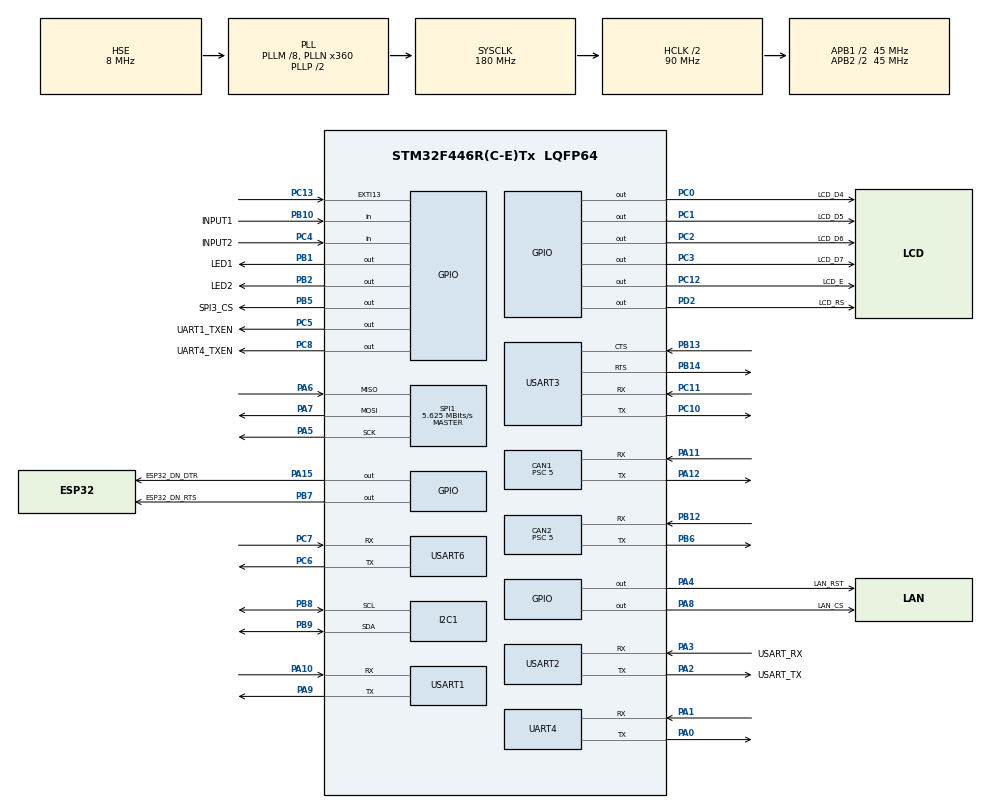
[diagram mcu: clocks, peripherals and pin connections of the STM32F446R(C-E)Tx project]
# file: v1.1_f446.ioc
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Mcu.Family=STM32F4
NVIC.USART3_IRQn=true\:0\:0\:false\:false\:true\:true\:true
NVIC.CAN1_RX1_IRQn=true\:0\:0\:false\:false\:true\:true\:true
PA6.Mode=Full_Duplex_Master
PH0-OSC_IN.Signal=RCC_OSC_IN
RCC.CortexFreq_Value=90000000
NVIC.CAN2_RX0_IRQn=true\:0\:0\:false\:false\:true\:true\:true
SPI1.VirtualType=VM_MASTER
PB10.GPIO_PuPd=GPIO_PULLUP
CAN2.CalculateTimeBit=999.99
PC10.Signal=USART3_TX
PC12.Signal=GPIO_Output
PA14.GPIO_Label=TCK
PC0.GPIO_Label=LCD_D4
PA11.Mode=CAN_Activate
PB13.Signal=USART3_CTS
PB15.Signal=SPI2_MOSI
RCC.SYSCLKSource=RCC_SYSCLKSOURCE_PLLCLK
ProjectManager.StackSize=0x400
PA15.GPIO_Label=ESP32_DN_DTR
PA12.Signal=CAN1_TX
SPI1.Direction=SPI_DIRECTION_2LINES
RCC.HCLKFreq_Value=90000000
RCC.APB2TimFreq_Value=90000000
PB6.Signal=CAN2_TX
PC7.Signal=USART6_RX
PB5.PinState=GPIO_PIN_SET
PB6.Mode=CAN_Activate
SPI1.CalculateBaudRate=5.625 MBits/s
PC3.Signal=GPIO_Output
RCC.AHBFreq_Value=90000000
PH0-OSC_IN.Mode=HSE-External-Clock-Source
RCC.HSE_VALUE=8000000
PB2.Signal=GPIO_Output
PC14-OSC32_IN.Mode=LSE-External-Oscillator
PC4.GPIO_Label=INPUT2
PA14.Mode=Serial_Wire
CAN2.Prescaler=5
PB14.Mode=CTS_RTS
PB1.GPIO_Label=LED1
PC13.GPIO_PuPd=GPIO_PULLUP
PB7.Signal=GPIO_Output
PA8.Signal=GPIO_Output
RCC.FLatency-AdvancedSettings=FLASH_LATENCY_2
PH1-OSC_OUT.Mode=HSE-External-Clock-Source
PB7.GPIO_Label=ESP32_DN_RTS
CAN1.Prescaler=5
Mcu.Package=LQFP64
PB9.Signal=I2C1_SDA
PB1.Signal=GPIO_Output
PA6.Signal=SPI1_MISO
PB12.Mode=CAN_Activate
CAN2.BS1=CAN_BS1_7TQ
CAN2.BS2=CAN_BS2_1TQ
USART2.VirtualMode=VM_ASYNC
USART6.VirtualMode=VM_ASYNC
PA2.GPIO_Label=USART_TX
PA10.Signal=USART1_RX
PA15.Signal=GPIO_Output
PC11.Mode=Asynchronous
RCC.APB2CLKDivider=RCC_HCLK_DIV2
PB5.GPIO_Label=SPI3_CS
RCC.APB1TimFreq_Value=90000000
PC5.Signal=GPIO_Output
PB13.Mode=CTS_RTS
NVIC.USART1_IRQn=true\:0\:0\:false\:false\:true\:true\:true
SPI1.BaudRatePrescaler=SPI_BAUDRATEPRESCALER_8
CAN1.CalculateTimeBit=999.99
PA4.GPIO_Label=LAN_RST
PC2.GPIO_Label=LCD_D6
PA8.PinState=GPIO_PIN_SET
PB4.Signal=SPI3_MISO
PA3.Signal=USART2_RX
CAN1.CalculateTimeQuantum=111.11111111111111
NVIC.UART4_IRQn=true\:0\:0\:false\:false\:true\:true\:true
PA5.Mode=Full_Duplex_Master
RCC.PLLSourceVirtual=RCC_PLLSOURCE_HSE
PC15-OSC32_OUT.Mode=LSE-External-Oscillator
CAN2.CalculateBaudRate=1000000
PA7.Mode=Full_Duplex_Master
PA10.Mode=Asynchronous
PC4.GPIO_PuPd=GPIO_PULLUP
PC11.Signal=USART3_RX
PC13.Signal=GPXTI13
CAN1.CalculateBaudRate=1000000
PC8.Signal=GPIO_Output
PC2.Signal=GPIO_Output
PC4.Signal=GPIO_Input
PC6.Signal=USART6_TX
PC10.Mode=Asynchronous
PC0.Signal=GPIO_Output
RCC.APB1CLKDivider=RCC_HCLK_DIV2
UART4.VirtualMode=Asynchronous
PC14-OSC32_IN.Signal=RCC_OSC32_IN
NVIC.CAN2_RX1_IRQn=true\:0\:0\:false\:false\:true\:true\:true
NVIC.USART2_IRQn=true\:0\:0\:false\:false\:true\:true\:true
PA0-WKUP.Signal=UART4_TX
PA0-WKUP.Mode=Asynchronous
PC8.GPIO_Label=UART4_TXEN
PA3.Mode=Asynchronous
PA13.Signal=SYS_JTMS-SWDIO
PA9.Mode=Asynchronous
PA8.GPIO_Label=LAN_CS
PA4.PinState=GPIO_PIN_SET
CAN1.BS2=CAN_BS2_1TQ
CAN1.BS1=CAN_BS1_7TQ
ProjectManager.TargetToolchain=STM32CubeIDE
PB10.GPIO_Label=INPUT1
PC6.Mode=Asynchronous
PB9.Mode=I2C
PA9.Signal=USART1_TX
RCC.USBFreq_Value=180000000
PC15-OSC32_OUT.Signal=RCC_OSC32_OUT
PA1.Signal=UART4_RX
PB10.Signal=GPIO_Input
PB14.Signal=USART3_RTS
PA5.Signal=SPI1_SCK
board=NUCLEO-F446RE
RCC.VCOOutputFreq_Value=360000000
RCC.APB2Freq_Value=45000000
PA1.Mode=Asynchronous
SPI1.Mode=SPI_MODE_MASTER
PC1.GPIO_Label=LCD_D5
CAN2.CalculateTimeQuantum=111.11111111111111
PH1-OSC_OUT.Signal=RCC_OSC_OUT
RCC.AHBCLKDivider=RCC_SYSCLK_DIV2
PA13.Mode=Serial_Wire
Mcu.Name=STM32F446R(C-E)Tx
PA2.Signal=USART2_TX
PA13.GPIO_Label=TMS
RCC.48MHZClocksFreq_Value=84000000
PB3.Signal=SPI3_SCK
PA4.Signal=GPIO_Output
RCC.SYSCLKFreq_VALUE=180000000
PB5.Signal=GPIO_Output
PA12.Mode=CAN_Activate
PC5.GPIO_Label=UART1_TXEN
USART3.VirtualMode=VM_ASYNC
PC12.GPIO_Label=LCD_E
USART1.VirtualMode=VM_ASYNC
PA11.Signal=CAN1_RX
PA14.Signal=SYS_JTCK-SWCLK
PB2.GPIO_Label=LED2
ProjectManager.HeapSize=0x200
RCC.HSI_VALUE=16000000
NVIC.PriorityGroup=NVIC_PRIORITYGROUP_0
RCC.PLLM=8
PB8.Mode=I2C
RCC.PLLN=360
PA2.Mode=Asynchronous
PB8.Signal=I2C1_SCL
PC3.GPIO_Label=LCD_D7
PC7.Mode=Asynchronous
PD2.Signal=GPIO_Output
RCC.APB1Freq_Value=45000000
PC1.Signal=GPIO_Output
PB12.Signal=CAN2_RX
PD2.GPIO_Label=LCD_RS
NVIC.CAN1_RX0_IRQn=true\:0\:0\:false\:false\:true\:true\:true
PA3.GPIO_Label=USART_RX
PA7.Signal=SPI1_MOSI

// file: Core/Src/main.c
/* USER CODE BEGIN Header */
/**
  ************* *****************************************************************
  * @file           : main.c
  * @brief          : Main program body
  ******************************************************************************
  * @attention
  *
  * <h2><center>&copy; Copyright (c) 2023 STMicroelectronics.
  * All rights reserved.</center></h2>
  *
  * This software component is licensed by ST under BSD 3-Clause license,
  * the "License"; You may not use this file except in compliance with the
  * License. You may obtain a copy of the License at:
  *                        opensource.org/licenses/BSD-3-Clause
  *
  ******************************************************************************
  */
/* USER CODE END Header */
#include "main.h"

CAN_HandleTypeDef hcan1;
CAN_HandleTypeDef hcan2;

I2C_HandleTypeDef hi2c1;

SPI_HandleTypeDef hspi1;

UART_HandleTypeDef huart4;
UART_HandleTypeDef huart1;
UART_HandleTypeDef huart2;
UART_HandleTypeDef huart3;
UART_HandleTypeDef huart6;

void SystemClock_Config(void);
static void MX_GPIO_Init(void);
static void MX_USART2_UART_Init(void);
static void MX_CAN1_Init(void);
static void MX_CAN2_Init(void);
static void MX_I2C1_Init(void);
static void MX_SPI1_Init(void);
static void MX_USART1_UART_Init(void);
static void MX_USART3_UART_Init(void);
static void MX_USART6_UART_Init(void);
static void MX_UART4_Init(void);
/* USER CODE BEGIN PFP */
extern __IO uint8_t rxBuff1[2];
extern __IO uint8_t rxBuff2[2];
extern __IO uint8_t rxBuff3[2];
extern __IO uint8_t rxBuff4[2];
/* USER CODE END PFP */

/* USER CODE BEGIN 0 */
#include "uart.h"
extern int is_available(uart_rx_queue_t *Q);
extern int delete_uart_Q(uart_rx_queue_t *Q);
extern int do_cmd(char ch);

extern uart_rx_queue_t stdin_uart, rs485_uart1, rs485_uart4;
extern void can_start(int chn); // chn 1,2
extern void ESP8266_ESP8266();
JCNET_USART3_UART_Init()
{
	MX_USART3_UART_Init();
}
/* USER CODE END 0 */

int main(void)
{

  /* MCU Configuration--------------------------------------------------------*/

  /* Reset of all peripherals, Initializes the Flash interface and the Systick. */
  HAL_Init();

  /* Configure the system clock */
  SystemClock_Config();

  /* Initialize all configured peripherals */
  MX_GPIO_Init();
  MX_USART2_UART_Init();
  MX_CAN1_Init();
  MX_CAN2_Init();
  MX_I2C1_Init();
  MX_SPI1_Init();
  MX_USART1_UART_Init();
  MX_USART3_UART_Init();
  MX_USART6_UART_Init();
  MX_UART4_Init();
  /* USER CODE BEGIN 2 */
  uart_rx_ready_IT(&huart2,rxBuff2);
  uart_rx_ready_IT(&huart1,rxBuff1);
  uart_rx_ready_IT(&huart3,rxBuff3);
  uart_rx_ready_IT(&huart4,rxBuff4);
  can_start(1);
  can_start(2);
  printf("Hi~. Welcome to IOT board for NUCLEO !\n");
  ESP8266_ESP8266();
  /* USER CODE END 2 */

  /* Infinite loop */
  while (1)
  {

    /* USER CODE BEGIN 3 */
	  extern void wiz_task();
	  extern volatile uint8_t rxDataCan1[8];
	  extern volatile uint8_t rxDataCan2[8];
	  extern volatile int can1_rx_flag;
	  extern volatile int can2_rx_flag;
	  extern void ESP8266_ESP8266();
	  int i;
	  if(can1_rx_flag)
	  {
		  can1_rx_flag = 0;
		  printf("CAN1 rx : "); for( i = 0 ; i < 8 ; i ++) printf("%02x",rxDataCan1[i]);
		  printf("\n");
	  }
	  if(can2_rx_flag)
	  {
		  can2_rx_flag = 0;
		  printf("CAN2 rx : "); for( i = 0 ; i < 8 ; i ++) printf("%02x",rxDataCan2[i]);
		  printf("\n");
	  }
      if(is_available(&stdin_uart))
      {
              int ch;
              ch = delete_uart_Q(&stdin_uart);
              do_cmd(ch);
      }
      if(is_available(&rs485_uart1))
      {
    	  printf("RS485 uart1 RX\n");
    	  while(is_available(&rs485_uart1))
    	  {
              int ch;
              ch = delete_uart_Q(&rs485_uart1);
              printf("%c",ch);
    	  }
    	  printf("\n");
      }
      if(is_available(&rs485_uart4))
      {
    	  printf("RS485 uart3 RX\n");
    	  while(is_available(&rs485_uart4))
    	  {
              int ch;
              ch = delete_uart_Q(&rs485_uart4);
              printf("%c",ch);
    	  }
    	  printf("\n");
      }
      wiz_task();
  }
  /* USER CODE END 3 */
}

void SystemClock_Config(void)
{
  RCC_OscInitTypeDef RCC_OscInitStruct = {0};
  RCC_ClkInitTypeDef RCC_ClkInitStruct = {0};

  /** Configure the main internal regulator output voltage
  */
  __HAL_RCC_PWR_CLK_ENABLE();
  __HAL_PWR_VOLTAGESCALING_CONFIG(PWR_REGULATOR_VOLTAGE_SCALE3);
  /** Initializes the RCC Oscillators according to the specified parameters
  * in the RCC_OscInitTypeDef structure.
  */
  RCC_OscInitStruct.OscillatorType = RCC_OSCILLATORTYPE_HSE;
  RCC_OscInitStruct.HSEState = RCC_HSE_BYPASS;
  RCC_OscInitStruct.PLL.PLLState = RCC_PLL_ON;
  RCC_OscInitStruct.PLL.PLLSource = RCC_PLLSOURCE_HSE;
  RCC_OscInitStruct.PLL.PLLM = 8;
  RCC_OscInitStruct.PLL.PLLN = 360;
  RCC_OscInitStruct.PLL.PLLP = RCC_PLLP_DIV2;
  RCC_OscInitStruct.PLL.PLLQ = 2;
  RCC_OscInitStruct.PLL.PLLR = 2;
  if (HAL_RCC_OscConfig(&RCC_OscInitStruct) != HAL_OK)
  {
    Error_Handler();
  }
  /** Initializes the CPU, AHB and APB buses clocks
  */
  RCC_ClkInitStruct.ClockType = RCC_CLOCKTYPE_HCLK|RCC_CLOCKTYPE_SYSCLK
                              |RCC_CLOCKTYPE_PCLK1|RCC_CLOCKTYPE_PCLK2;
  RCC_ClkInitStruct.SYSCLKSource = RCC_SYSCLKSOURCE_PLLCLK;
  RCC_ClkInitStruct.AHBCLKDivider = RCC_SYSCLK_DIV2;
  RCC_ClkInitStruct.APB1CLKDivider = RCC_HCLK_DIV2;
  RCC_ClkInitStruct.APB2CLKDivider = RCC_HCLK_DIV2;

  if (HAL_RCC_ClockConfig(&RCC_ClkInitStruct, FLASH_LATENCY_2) != HAL_OK)
  {
    Error_Handler();
  }
}

static void MX_CAN1_Init(void)
{

  hcan1.Instance = CAN1;
  hcan1.Init.Prescaler = 5;
  hcan1.Init.Mode = CAN_MODE_NORMAL;
  hcan1.Init.SyncJumpWidth = CAN_SJW_1TQ;
  hcan1.Init.TimeSeg1 = CAN_BS1_7TQ;
  hcan1.Init.TimeSeg2 = CAN_BS2_1TQ;
  hcan1.Init.TimeTriggeredMode = DISABLE;
  hcan1.Init.AutoBusOff = DISABLE;
  hcan1.Init.AutoWakeUp = DISABLE;
  hcan1.Init.AutoRetransmission = DISABLE;
  hcan1.Init.ReceiveFifoLocked = DISABLE;
  hcan1.Init.TransmitFifoPriority = DISABLE;
  if (HAL_CAN_Init(&hcan1) != HAL_OK)
  {
    Error_Handler();
  }

}

static void MX_CAN2_Init(void)
{

  hcan2.Instance = CAN2;
  hcan2.Init.Prescaler = 5;
  hcan2.Init.Mode = CAN_MODE_NORMAL;
  hcan2.Init.SyncJumpWidth = CAN_SJW_1TQ;
  hcan2.Init.TimeSeg1 = CAN_BS1_7TQ;
  hcan2.Init.TimeSeg2 = CAN_BS2_1TQ;
  hcan2.Init.TimeTriggeredMode = DISABLE;
  hcan2.Init.AutoBusOff = DISABLE;
  hcan2.Init.AutoWakeUp = DISABLE;
  hcan2.Init.AutoRetransmission = DISABLE;
  hcan2.Init.ReceiveFifoLocked = DISABLE;
  hcan2.Init.TransmitFifoPriority = DISABLE;
  if (HAL_CAN_Init(&hcan2) != HAL_OK)
  {
    Error_Handler();
  }

}

static void MX_I2C1_Init(void)
{

  hi2c1.Instance = I2C1;
  hi2c1.Init.ClockSpeed = 100000;
  hi2c1.Init.DutyCycle = I2C_DUTYCYCLE_2;
  hi2c1.Init.OwnAddress1 = 0;
  hi2c1.Init.AddressingMode = I2C_ADDRESSINGMODE_7BIT;
  hi2c1.Init.DualAddressMode = I2C_DUALADDRESS_DISABLE;
  hi2c1.Init.OwnAddress2 = 0;
  hi2c1.Init.GeneralCallMode = I2C_GENERALCALL_DISABLE;
  hi2c1.Init.NoStretchMode = I2C_NOSTRETCH_DISABLE;
  if (HAL_I2C_Init(&hi2c1) != HAL_OK)
  {
    Error_Handler();
  }

}

static void MX_SPI1_Init(void)
{

  /* SPI1 parameter configuration*/
  hspi1.Instance = SPI1;
  hspi1.Init.Mode = SPI_MODE_MASTER;
  hspi1.Init.Direction = SPI_DIRECTION_2LINES;
  hspi1.Init.DataSize = SPI_DATASIZE_8BIT;
  hspi1.Init.CLKPolarity = SPI_POLARITY_LOW;
  hspi1.Init.CLKPhase = SPI_PHASE_1EDGE;
  hspi1.Init.NSS = SPI_NSS_SOFT;
  hspi1.Init.BaudRatePrescaler = SPI_BAUDRATEPRESCALER_8;
  hspi1.Init.FirstBit = SPI_FIRSTBIT_MSB;
  hspi1.Init.TIMode = SPI_TIMODE_DISABLE;
  hspi1.Init.CRCCalculation = SPI_CRCCALCULATION_DISABLE;
  hspi1.Init.CRCPolynomial = 10;
  if (HAL_SPI_Init(&hspi1) != HAL_OK)
  {
    Error_Handler();
  }

}

static void MX_UART4_Init(void)
{

  huart4.Instance = UART4;
  huart4.Init.BaudRate = 115200;
  huart4.Init.WordLength = UART_WORDLENGTH_8B;
  huart4.Init.StopBits = UART_STOPBITS_1;
  huart4.Init.Parity = UART_PARITY_NONE;
  huart4.Init.Mode = UART_MODE_TX_RX;
  huart4.Init.HwFlowCtl = UART_HWCONTROL_NONE;
  huart4.Init.OverSampling = UART_OVERSAMPLING_16;
  if (HAL_UART_Init(&huart4) != HAL_OK)
  {
    Error_Handler();
  }

}

static void MX_USART1_UART_Init(void)
{

  huart1.Instance = USART1;
  huart1.Init.BaudRate = 115200;
  huart1.Init.WordLength = UART_WORDLENGTH_8B;
  huart1.Init.StopBits = UART_STOPBITS_1;
  huart1.Init.Parity = UART_PARITY_NONE;
  huart1.Init.Mode = UART_MODE_TX_RX;
  huart1.Init.HwFlowCtl = UART_HWCONTROL_NONE;
  huart1.Init.OverSampling = UART_OVERSAMPLING_16;
  if (HAL_UART_Init(&huart1) != HAL_OK)
  {
    Error_Handler();
  }

}

static void MX_USART2_UART_Init(void)
{

  huart2.Instance = USART2;
  huart2.Init.BaudRate = 115200;
  huart2.Init.WordLength = UART_WORDLENGTH_8B;
  huart2.Init.StopBits = UART_STOPBITS_1;
  huart2.Init.Parity = UART_PARITY_NONE;
  huart2.Init.Mode = UART_MODE_TX_RX;
  huart2.Init.HwFlowCtl = UART_HWCONTROL_NONE;
  huart2.Init.OverSampling = UART_OVERSAMPLING_16;
  if (HAL_UART_Init(&huart2) != HAL_OK)
  {
    Error_Handler();
  }

}

static void MX_USART3_UART_Init(void)
{

  huart3.Instance = USART3;
  huart3.Init.BaudRate = 115200;
  huart3.Init.WordLength = UART_WORDLENGTH_8B;
  huart3.Init.StopBits = UART_STOPBITS_1;
  huart3.Init.Parity = UART_PARITY_NONE;
  huart3.Init.Mode = UART_MODE_TX_RX;
  huart3.Init.HwFlowCtl = UART_HWCONTROL_RTS_CTS;
  huart3.Init.OverSampling = UART_OVERSAMPLING_16;
  if (HAL_UART_Init(&huart3) != HAL_OK)
  {
    Error_Handler();
  }

}

static void MX_USART6_UART_Init(void)
{

  huart6.Instance = USART6;
  huart6.Init.BaudRate = 115200;
  huart6.Init.WordLength = UART_WORDLENGTH_8B;
  huart6.Init.StopBits = UART_STOPBITS_1;
  huart6.Init.Parity = UART_PARITY_NONE;
  huart6.Init.Mode = UART_MODE_TX_RX;
  huart6.Init.HwFlowCtl = UART_HWCONTROL_NONE;
  huart6.Init.OverSampling = UART_OVERSAMPLING_16;
  if (HAL_UART_Init(&huart6) != HAL_OK)
  {
    Error_Handler();
  }

}

static void MX_GPIO_Init(void)
{
  GPIO_InitTypeDef GPIO_InitStruct = {0};

  /* GPIO Ports Clock Enable */
  __HAL_RCC_GPIOC_CLK_ENABLE();
  __HAL_RCC_GPIOH_CLK_ENABLE();
  __HAL_RCC_GPIOA_CLK_ENABLE();
  __HAL_RCC_GPIOB_CLK_ENABLE();
  __HAL_RCC_GPIOD_CLK_ENABLE();

  /*Configure GPIO pin Output Level */
  HAL_GPIO_WritePin(GPIOC, LCD_D4_Pin|LCD_D5_Pin|LCD_D6_Pin|LCD_D7_Pin
                          |UART1_TXEN_Pin|UART4_TXEN_Pin|LCD_E_Pin, GPIO_PIN_RESET);

  /*Configure GPIO pin Output Level */
  HAL_GPIO_WritePin(GPIOA, LAN_RST_Pin|LAN_CS_Pin, GPIO_PIN_SET);

  /*Configure GPIO pin Output Level */
  HAL_GPIO_WritePin(GPIOB, LED1_Pin|LED2_Pin|ESP32_DN_RTS_Pin, GPIO_PIN_RESET);

  /*Configure GPIO pin Output Level */
  HAL_GPIO_WritePin(ESP32_DN_DTR_GPIO_Port, ESP32_DN_DTR_Pin, GPIO_PIN_RESET);

  /*Configure GPIO pin Output Level */
  HAL_GPIO_WritePin(LCD_RS_GPIO_Port, LCD_RS_Pin, GPIO_PIN_RESET);

  /*Configure GPIO pin Output Level */
  HAL_GPIO_WritePin(SPI3_CS_GPIO_Port, SPI3_CS_Pin, GPIO_PIN_SET);

  /*Configure GPIO pin : PC13 */
  GPIO_InitStruct.Pin = GPIO_PIN_13;
  GPIO_InitStruct.Mode = GPIO_MODE_IT_RISING;
  GPIO_InitStruct.Pull = GPIO_PULLUP;
  HAL_GPIO_Init(GPIOC, &GPIO_InitStruct);

  /*Configure GPIO pins : LCD_D4_Pin LCD_D5_Pin LCD_D6_Pin LCD_D7_Pin
                           UART1_TXEN_Pin UART4_TXEN_Pin LCD_E_Pin */
  GPIO_InitStruct.Pin = LCD_D4_Pin|LCD_D5_Pin|LCD_D6_Pin|LCD_D7_Pin
                          |UART1_TXEN_Pin|UART4_TXEN_Pin|LCD_E_Pin;
  GPIO_InitStruct.Mode = GPIO_MODE_OUTPUT_PP;
  GPIO_InitStruct.Pull = GPIO_NOPULL;
  GPIO_InitStruct.Speed = GPIO_SPEED_FREQ_LOW;
  HAL_GPIO_Init(GPIOC, &GPIO_InitStruct);

  /*Configure GPIO pins : LAN_RST_Pin LAN_CS_Pin ESP32_DN_DTR_Pin */
  GPIO_InitStruct.Pin = LAN_RST_Pin|LAN_CS_Pin|ESP32_DN_DTR_Pin;
  GPIO_InitStruct.Mode = GPIO_MODE_OUTPUT_PP;
  GPIO_InitStruct.Pull = GPIO_NOPULL;
  GPIO_InitStruct.Speed = GPIO_SPEED_FREQ_LOW;
  HAL_GPIO_Init(GPIOA, &GPIO_InitStruct);

  /*Configure GPIO pin : INPUT2_Pin */
  GPIO_InitStruct.Pin = INPUT2_Pin;
  GPIO_InitStruct.Mode = GPIO_MODE_INPUT;
  GPIO_InitStruct.Pull = GPIO_PULLUP;
  HAL_GPIO_Init(INPUT2_GPIO_Port, &GPIO_InitStruct);

  /*Configure GPIO pins : LED1_Pin LED2_Pin SPI3_CS_Pin ESP32_DN_RTS_Pin */
  GPIO_InitStruct.Pin = LED1_Pin|LED2_Pin|SPI3_CS_Pin|ESP32_DN_RTS_Pin;
  GPIO_InitStruct.Mode = GPIO_MODE_OUTPUT_PP;
  GPIO_InitStruct.Pull = GPIO_NOPULL;
  GPIO_InitStruct.Speed = GPIO_SPEED_FREQ_LOW;
  HAL_GPIO_Init(GPIOB, &GPIO_InitStruct);

  /*Configure GPIO pin : INPUT1_Pin */
  GPIO_InitStruct.Pin = INPUT1_Pin;
  GPIO_InitStruct.Mode = GPIO_MODE_INPUT;
  GPIO_InitStruct.Pull = GPIO_PULLUP;
  HAL_GPIO_Init(INPUT1_GPIO_Port, &GPIO_InitStruct);

  /*Configure GPIO pin : PB15 */
  GPIO_InitStruct.Pin = GPIO_PIN_15;
  GPIO_InitStruct.Mode = GPIO_MODE_AF_PP;
  GPIO_InitStruct.Pull = GPIO_NOPULL;
  GPIO_InitStruct.Speed = GPIO_SPEED_FREQ_VERY_HIGH;
  GPIO_InitStruct.Alternate = GPIO_AF5_SPI2;
  HAL_GPIO_Init(GPIOB, &GPIO_InitStruct);

  /*Configure GPIO pin : LCD_RS_Pin */
  GPIO_InitStruct.Pin = LCD_RS_Pin;
  GPIO_InitStruct.Mode = GPIO_MODE_OUTPUT_PP;
  GPIO_InitStruct.Pull = GPIO_NOPULL;
  GPIO_InitStruct.Speed = GPIO_SPEED_FREQ_LOW;
  HAL_GPIO_Init(LCD_RS_GPIO_Port, &GPIO_InitStruct);

  /*Configure GPIO pins : PB3 PB4 */
  GPIO_InitStruct.Pin = GPIO_PIN_3|GPIO_PIN_4;
  GPIO_InitStruct.Mode = GPIO_MODE_AF_PP;
  GPIO_InitStruct.Pull = GPIO_NOPULL;
  GPIO_InitStruct.Speed = GPIO_SPEED_FREQ_VERY_HIGH;
  GPIO_InitStruct.Alternate = GPIO_AF6_SPI3;
  HAL_GPIO_Init(GPIOB, &GPIO_InitStruct);

}

void Error_Handler(void)
{
  __disable_irq();
  while (1)
  {
  }
}

/************************ (C) COPYRIGHT STMicroelectronics *****END OF FILE****/
